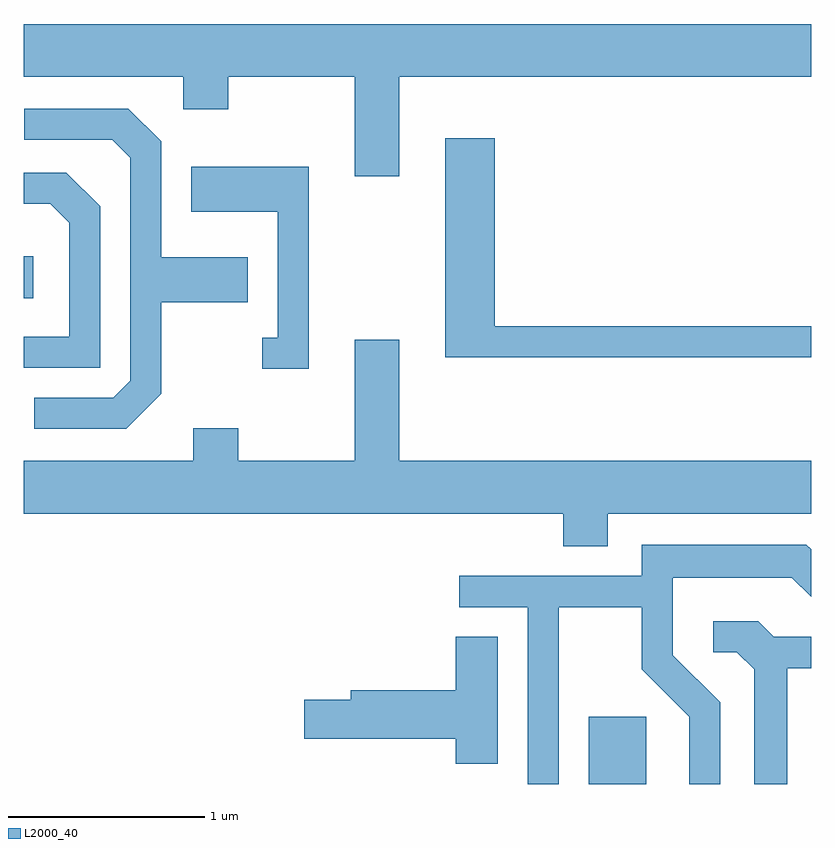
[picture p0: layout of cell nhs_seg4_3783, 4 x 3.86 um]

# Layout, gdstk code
import gdstk
lib = gdstk.Library(unit=1e-6, precision=1e-09)
def R(c, l, rs):  # rectangles x0, y0, x1, y1
    for r in rs: c.add(gdstk.rectangle(r[:2], r[2:], *l))
def P(c, l, *ps):  # polygons
    for p in ps: c.add(gdstk.Polygon(p, *l))
L2000_40 = (2000, 40)

nhs_seg4_3783 = lib.new_cell('nhs_seg4_3783')
R(nhs_seg4_3783, L2000_40, [(298.481,1339.982,298.774,1340.324), (295.611,1342.451,295.659,1342.664)])
P(nhs_seg4_3783, L2000_40, [(297.519,1343.576),(299.611,1343.576),(299.611,1343.844),(295.611,1343.844),(295.611,1343.576),(296.421,1343.576),(296.421,1343.411),(296.649,1343.411),(296.649,1343.576),(297.291,1343.576),(297.291,1343.071),(297.519,1343.071)],
  [(296.309,1341.964),(296.309,1342.431),(296.749,1342.431),(296.749,1342.659),(296.309,1342.659),(296.309,1343.247),(296.142,1343.414),(295.613,1343.414),(295.613,1343.256),(296.059,1343.256),(296.151,1343.164),(296.151,1342.032),(296.064,1341.944),(295.663,1341.944),(295.663,1341.786),(296.132,1341.786)],
  [(299.611,1342.309),(298.004,1342.309),(298.004,1343.264),(297.751,1343.264),(297.751,1342.151),(299.611,1342.151)],
  [(297.059,1343.119),(296.461,1343.119),(296.461,1342.891),(296.901,1342.891),(296.901,1342.249),(296.823,1342.249),(296.823,1342.091),(297.059,1342.091)],
  [(295.999,1342.917),(295.827,1343.089),(295.611,1343.089),(295.611,1342.931),(295.744,1342.931),(295.841,1342.834),(295.841,1342.254),(295.611,1342.254),(295.611,1342.096),(295.999,1342.096)],
  [(298.579,1341.356),(299.611,1341.356),(299.611,1341.624),(297.519,1341.624),(297.519,1342.239),(297.291,1342.239),(297.291,1341.624),(296.699,1341.624),(296.699,1341.789),(296.471,1341.789),(296.471,1341.624),(295.611,1341.624),(295.611,1341.356),(298.351,1341.356),(298.351,1341.191),(298.579,1341.191)],
  [(298.329,1340.881),(298.751,1340.881),(298.751,1340.564),(298.991,1340.324),(298.991,1339.982),(299.149,1339.982),(299.149,1340.397),(298.909,1340.637),(298.909,1341.031),(299.514,1341.031),(299.611,1340.934),(299.611,1341.175),(299.587,1341.199),(298.751,1341.199),(298.751,1341.039),(297.823,1341.039),(297.823,1340.881),(298.171,1340.881),(298.171,1339.982),(298.329,1339.982)],
  [(299.489,1340.571),(299.611,1340.571),(299.611,1340.729),(299.422,1340.729),(299.342,1340.809),(299.113,1340.809),(299.113,1340.651),(299.234,1340.651),(299.321,1340.564),(299.321,1339.982),(299.489,1339.982)],
  [(298.019,1340.729),(297.806,1340.729),(297.806,1340.459),(297.271,1340.459),(297.271,1340.409),(297.036,1340.409),(297.036,1340.211),(297.806,1340.211),(297.806,1340.086),(298.019,1340.086)])

lib.write_gds('nhs_seg4_3783.gds')
